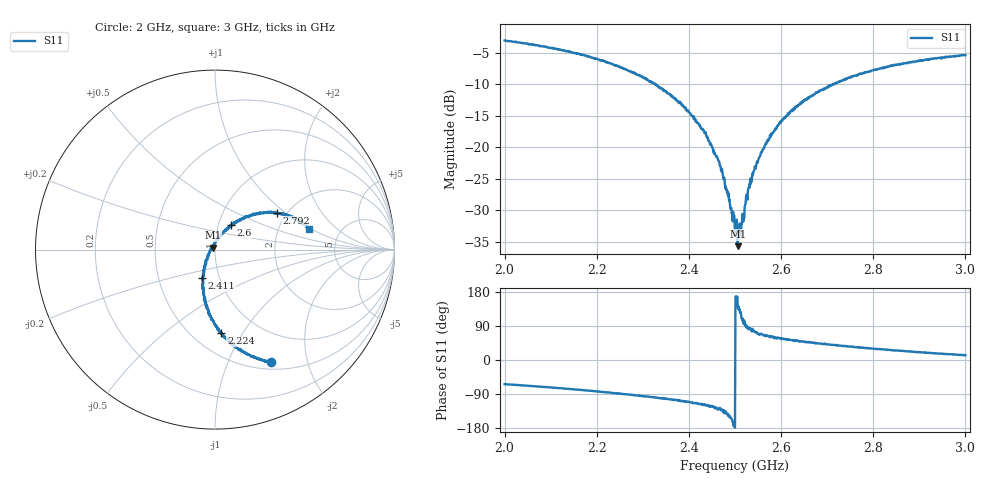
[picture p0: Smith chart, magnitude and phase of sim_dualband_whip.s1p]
! AntennaFox export: Dual-band 2.4/5 GHz whip (simulated) (sample-sim_dualband_whip)
! Instrument: AntennaFox,Simulator,SIM-0001,1.0
! Calibration (instrument-reported): SOLT_1 (simulated)
! Simulated: True
! Segment: 2.4 GHz detail
# HZ S RI R 50
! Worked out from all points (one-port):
!   1001 points, 2 GHz to 3 GHz, reference 50 ohm
!   lowest |S11| = -35.7 dB at 2.506 GHz (marker M1), VSWR 1.03, Z = 48.7 + j1 ohm
!   |S11| at or under -10 dB: 2.323948 GHz to 2.325058 GHz (1.11 MHz wide, 0.0477 % of centre); 2.327 GHz to 2.716 GHz (389.6 MHz wide, 15.5 % of centre)
!   S11 on the Smith chart (normalised r, x): 2 GHz: 0.58, -1.44; 2.224 GHz: 0.68, -0.81; 2.411 GHz: 0.83, -0.27; 2.6 GHz: 1.15, +0.32; 2.792 GHz: 1.78, +0.86; 3 GHz: 2.96, +0.97
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2e9  0.3099 -0.6286
2.125e9  0.1539 -0.5635
2.224e9  0.036 -0.4657
2.25e9  0.00863 -0.4288
2.324e9  -0.0439 -0.313
2.375e9  -0.0611 -0.2222
2.411e9  -0.071 -0.1596
2.436e9  -0.0615 -0.1162
2.464e9  -0.05 -0.0599
2.473e9  -0.042 -0.0447
2.496e9  -0.0295 -0.00802
2.5e9  -0.0199 -0.000483
2.504e9  -0.0252 0.00817
2.506e9  -0.0127 0.0103
2.51e9  -0.0172 0.0177
2.512e9  -0.012 0.0157
2.516e9  -0.00723 0.0285
2.528e9  0.00354 0.0451
2.543e9  0.0183 0.0679
2.556e9  0.0317 0.084
2.571e9  0.0507 0.1018
2.6e9  0.0884 0.1351
2.625e9  0.1197 0.1508
2.679e9  0.195 0.1867
2.75e9  0.2909 0.2057
2.792e9  0.3438 0.2042
2.875e9  0.4267 0.1827
3e9  0.5231 0.1164
